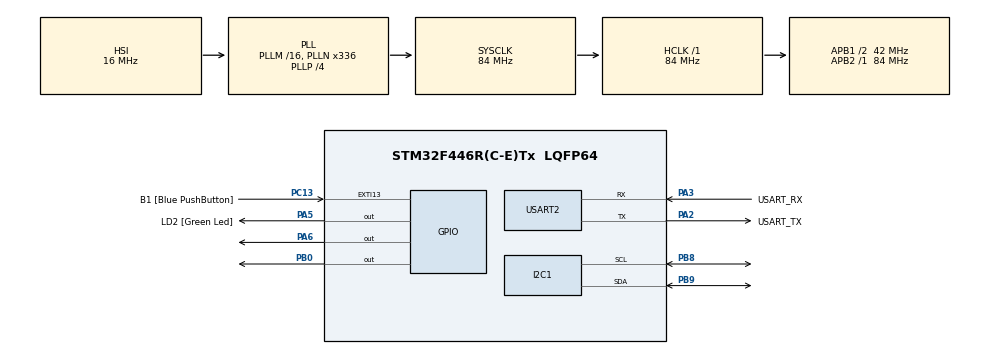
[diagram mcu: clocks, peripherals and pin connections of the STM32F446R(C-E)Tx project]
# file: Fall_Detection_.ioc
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Mcu.Family=STM32F4
Mcu.Name=STM32F446R(C-E)Tx
Mcu.Package=LQFP64
NVIC.PriorityGroup=NVIC_PRIORITYGROUP_0
PA13.GPIO_Label=TMS
PA13.Mode=Serial_Wire
PA13.Signal=SYS_JTMS-SWDIO
PA14.GPIO_Label=TCK
PA14.Mode=Serial_Wire
PA14.Signal=SYS_JTCK-SWCLK
PA2.GPIO_Label=USART_TX
PA2.Mode=Asynchronous
PA2.Signal=USART2_TX
PA3.GPIO_Label=USART_RX
PA3.Mode=Asynchronous
PA3.Signal=USART2_RX
PA5.GPIO_Label=LD2 [Green Led]
PA5.Signal=GPIO_Output
PA6.Signal=GPIO_Output
PB0.Signal=GPIO_Output
PB3.GPIO_Label=SWO
PB3.Signal=SYS_JTDO-SWO
PB8.Mode=I2C
PB8.Signal=I2C1_SCL
PB9.Mode=I2C
PB9.Signal=I2C1_SDA
PC13.GPIO_Label=B1 [Blue PushButton]
PC13.GPIO_ModeDefaultEXTI=GPIO_MODE_IT_FALLING
PC13.Signal=GPXTI13
PC14-OSC32_IN.Mode=LSE-External-Oscillator
PC14-OSC32_IN.Signal=RCC_OSC32_IN
PC15-OSC32_OUT.Mode=LSE-External-Oscillator
PC15-OSC32_OUT.Signal=RCC_OSC32_OUT
PH0-OSC_IN.Mode=HSE-External-Oscillator
PH0-OSC_IN.Signal=RCC_OSC_IN
PH1-OSC_OUT.Mode=HSE-External-Oscillator
PH1-OSC_OUT.Signal=RCC_OSC_OUT
ProjectManager.HeapSize=0x200
ProjectManager.StackSize=0x400
ProjectManager.TargetToolchain=STM32CubeIDE
RCC.48MHZClocksFreq_Value=84000000
RCC.AHBFreq_Value=84000000
RCC.APB1CLKDivider=RCC_HCLK_DIV2
RCC.APB1Freq_Value=42000000
RCC.APB1TimFreq_Value=84000000
RCC.APB2Freq_Value=84000000
RCC.APB2TimFreq_Value=84000000
RCC.CortexFreq_Value=84000000
RCC.FLatency-AdvancedSettings=FLASH_LATENCY_2
RCC.HCLKFreq_Value=84000000
RCC.HSE_VALUE=8000000
RCC.HSI_VALUE=16000000
RCC.PLLN=336
RCC.PLLP=RCC_PLLP_DIV4
RCC.SYSCLKFreq_VALUE=84000000
RCC.SYSCLKSource=RCC_SYSCLKSOURCE_PLLCLK
RCC.USBFreq_Value=168000000
RCC.VCOOutputFreq_Value=336000000
USART2.VirtualMode=VM_ASYNC
board=NUCLEO-F446RE

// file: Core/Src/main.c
/* USER CODE BEGIN Header */
/**
  ******************************************************************************
  * @file           : main.c
  * @brief          : FALL DETECTION SYSTEM
  ******************************************************************************
  */
/* USER CODE END Header */

#include "main.h"
#include <stdio.h>
#include <string.h>
#include <stdlib.h>

I2C_HandleTypeDef hi2c1;
UART_HandleTypeDef huart2;

/* USER CODE BEGIN PD */

#define LCD_ADDR (0x27 << 1)
#define MPU_ADDR (0x68 << 1)

#define FALL_X_THRESHOLD 12000
#define FALL_Z_THRESHOLD 22000

/* USER CODE END PD */

/* USER CODE BEGIN PV */

int16_t Accel_X_RAW, Accel_Y_RAW, Accel_Z_RAW;
char buffer[16];

/* USER CODE END PV */

/* Function Prototypes */
void SystemClock_Config(void);
static void MX_GPIO_Init(void);
static void MX_USART2_UART_Init(void);
static void MX_I2C1_Init(void);

/* USER CODE BEGIN 0 */

// ================= LCD FUNCTIONS =================

void lcd_send_cmd(char cmd)
{
    uint8_t data_u, data_l;
    uint8_t data_t[4];

    data_u = (cmd & 0xF0);
    data_l = ((cmd << 4) & 0xF0);

    data_t[0] = data_u | 0x0C;
    data_t[1] = data_u | 0x08;
    data_t[2] = data_l | 0x0C;
    data_t[3] = data_l | 0x08;

    HAL_I2C_Master_Transmit(&hi2c1, LCD_ADDR, data_t, 4, 100);
}

void lcd_send_data(char data)
{
    uint8_t data_u, data_l;
    uint8_t data_t[4];

    data_u = (data & 0xF0);
    data_l = ((data << 4) & 0xF0);

    data_t[0] = data_u | 0x0D;
    data_t[1] = data_u | 0x09;
    data_t[2] = data_l | 0x0D;
    data_t[3] = data_l | 0x09;

    HAL_I2C_Master_Transmit(&hi2c1, LCD_ADDR, data_t, 4, 100);
}

void lcd_clear(void)
{
    lcd_send_cmd(0x01);
    HAL_Delay(2);
}

void lcd_put_cur(int row, int col)
{
    uint8_t pos;

    if(row == 0)
        pos = 0x80 + col;
    else
        pos = 0xC0 + col;

    lcd_send_cmd(pos);

}

void lcd_init(void)
{
    HAL_Delay(50);

    lcd_send_cmd(0x33);
    lcd_send_cmd(0x32);
    lcd_send_cmd(0x28);
    lcd_send_cmd(0x0C);
    lcd_send_cmd(0x06);
    lcd_send_cmd(0x01);

    HAL_Delay(5);
}

void lcd_send_string(char *str)
{
    while(*str)
    {
        lcd_send_data(*str++);
    }
}

// ================= MPU6050 FUNCTIONS =================

void MPU6050_Init(void)
{
    uint8_t check;
    uint8_t data;

    HAL_I2C_Mem_Read(&hi2c1, MPU_ADDR, 0x75, 1, &check, 1, 1000);

    if(check == 0x68)
    {
        data = 0;
        HAL_I2C_Mem_Write(&hi2c1, MPU_ADDR, 0x6B, 1, &data, 1, 1000);
    }
}

void MPU6050_Read_Accel(void)
{
    uint8_t Rec_Data[6];

    HAL_I2C_Mem_Read(&hi2c1, MPU_ADDR, 0x3B, 1, Rec_Data, 6, 1000);

    Accel_X_RAW = (int16_t)((Rec_Data[0] << 8) | Rec_Data[1]);
    Accel_Y_RAW = (int16_t)((Rec_Data[2] << 8) | Rec_Data[3]);
    Accel_Z_RAW = (int16_t)((Rec_Data[4] << 8) | Rec_Data[5]);
}

/* USER CODE END 0 */

// ================= MAIN =================

int main(void)
{
  HAL_Init();

  SystemClock_Config();

  MX_GPIO_Init();
  MX_USART2_UART_Init();
  MX_I2C1_Init();

  // ===== LCD INIT =====
  lcd_init();
  HAL_Delay(100);

  // ===== MPU INIT =====
  MPU6050_Init();

  lcd_clear();

  while (1)
  {
      int32_t x_sum = 0;
      int32_t z_sum = 0;

      // ===== TAKE 10 READINGS =====
      for(int i = 0; i < 10; i++)
      {
          MPU6050_Read_Accel();

          x_sum += Accel_X_RAW;
          z_sum += Accel_Z_RAW;

          HAL_Delay(10);
      }

      // ===== AVERAGE =====
      Accel_X_RAW = x_sum / 10;
      Accel_Z_RAW = z_sum / 10;

      // ===== DISPLAY X =====
      sprintf(buffer, "X:%6d", Accel_X_RAW);

      lcd_put_cur(0,0);
      lcd_send_string("                ");

      lcd_put_cur(0,0);
      lcd_send_string(buffer);

      // ===== DISPLAY Z =====
      sprintf(buffer, "Z:%6d", Accel_Z_RAW);

      lcd_put_cur(1,0);
      lcd_send_string("                ");

      lcd_put_cur(1,0);
      lcd_send_string(buffer);

      // ===== FALL DETECTION =====
      if(abs(Accel_X_RAW) > FALL_X_THRESHOLD ||
         abs(Accel_Z_RAW) > FALL_Z_THRESHOLD)
      {
          lcd_clear();

          lcd_put_cur(0,0);
          lcd_send_string("FALL DETECTED");

          lcd_put_cur(1,0);
          lcd_send_string("ALERT!");

          // ===== EXTERNAL LED ON =====
          HAL_GPIO_WritePin(GPIOB, GPIO_PIN_0, GPIO_PIN_SET);

          // ===== BUZZER ON =====
          HAL_GPIO_WritePin(GPIOA, GPIO_PIN_6, GPIO_PIN_SET);

          HAL_Delay(3000);

          // ===== EXTERNAL LED OFF =====
          HAL_GPIO_WritePin(GPIOB, GPIO_PIN_0, GPIO_PIN_RESET);

          // ===== BUZZER OFF =====
          HAL_GPIO_WritePin(GPIOA, GPIO_PIN_6, GPIO_PIN_RESET);

          lcd_clear();
      }

      HAL_Delay(200);
  }
}

// ================= SYSTEM CLOCK =================

void SystemClock_Config(void)
{
  RCC_OscInitTypeDef RCC_OscInitStruct = {0};
  RCC_ClkInitTypeDef RCC_ClkInitStruct = {0};

  __HAL_RCC_PWR_CLK_ENABLE();
  __HAL_PWR_VOLTAGESCALING_CONFIG(PWR_REGULATOR_VOLTAGE_SCALE3);

  RCC_OscInitStruct.OscillatorType = RCC_OSCILLATORTYPE_HSI;
  RCC_OscInitStruct.HSIState = RCC_HSI_ON;
  RCC_OscInitStruct.HSICalibrationValue = RCC_HSICALIBRATION_DEFAULT;
  RCC_OscInitStruct.PLL.PLLState = RCC_PLL_ON;
  RCC_OscInitStruct.PLL.PLLSource = RCC_PLLSOURCE_HSI;
  RCC_OscInitStruct.PLL.PLLM = 16;
  RCC_OscInitStruct.PLL.PLLN = 336;
  RCC_OscInitStruct.PLL.PLLP = RCC_PLLP_DIV4;
  RCC_OscInitStruct.PLL.PLLQ = 2;

  HAL_RCC_OscConfig(&RCC_OscInitStruct);

  RCC_ClkInitStruct.ClockType = RCC_CLOCKTYPE_HCLK |
                                RCC_CLOCKTYPE_SYSCLK |
                                RCC_CLOCKTYPE_PCLK1 |
                                RCC_CLOCKTYPE_PCLK2;

  RCC_ClkInitStruct.SYSCLKSource = RCC_SYSCLKSOURCE_PLLCLK;

  RCC_ClkInitStruct.AHBCLKDivider = RCC_SYSCLK_DIV1;
  RCC_ClkInitStruct.APB1CLKDivider = RCC_HCLK_DIV2;
  RCC_ClkInitStruct.APB2CLKDivider = RCC_HCLK_DIV1;

  HAL_RCC_ClockConfig(&RCC_ClkInitStruct, FLASH_LATENCY_2);
}

// ================= I2C INIT =================

static void MX_I2C1_Init(void)
{
  hi2c1.Instance = I2C1;

  hi2c1.Init.ClockSpeed = 100000;
  hi2c1.Init.DutyCycle = I2C_DUTYCYCLE_2;
  hi2c1.Init.OwnAddress1 = 0;
  hi2c1.Init.AddressingMode = I2C_ADDRESSINGMODE_7BIT;
  hi2c1.Init.DualAddressMode = I2C_DUALADDRESS_DISABLE;
  hi2c1.Init.OwnAddress2 = 0;
  hi2c1.Init.GeneralCallMode = I2C_GENERALCALL_DISABLE;
  hi2c1.Init.NoStretchMode = I2C_NOSTRETCH_DISABLE;

  HAL_I2C_Init(&hi2c1);
}

// ================= UART INIT =================

static void MX_USART2_UART_Init(void)
{
  huart2.Instance = USART2;

  huart2.Init.BaudRate = 115200;
  huart2.Init.WordLength = UART_WORDLENGTH_8B;
  huart2.Init.StopBits = UART_STOPBITS_1;
  huart2.Init.Parity = UART_PARITY_NONE;
  huart2.Init.Mode = UART_MODE_TX_RX;
  huart2.Init.HwFlowCtl = UART_HWCONTROL_NONE;
  huart2.Init.OverSampling = UART_OVERSAMPLING_16;

  HAL_UART_Init(&huart2);
}

// ================= GPIO INIT =================

static void MX_GPIO_Init(void)
{
  GPIO_InitTypeDef GPIO_InitStruct = {0};

  __HAL_RCC_GPIOC_CLK_ENABLE();
  __HAL_RCC_GPIOH_CLK_ENABLE();
  __HAL_RCC_GPIOA_CLK_ENABLE();
  __HAL_RCC_GPIOB_CLK_ENABLE();

  // ===== EXTERNAL LED PB0 =====
  HAL_GPIO_WritePin(GPIOB, GPIO_PIN_0, GPIO_PIN_RESET);

  GPIO_InitStruct.Pin = GPIO_PIN_0;
  GPIO_InitStruct.Mode = GPIO_MODE_OUTPUT_PP;
  GPIO_InitStruct.Pull = GPIO_NOPULL;
  GPIO_InitStruct.Speed = GPIO_SPEED_FREQ_LOW;

  HAL_GPIO_Init(GPIOB, &GPIO_InitStruct);

  // ===== BUZZER PA6 =====
  HAL_GPIO_WritePin(GPIOA, GPIO_PIN_6, GPIO_PIN_RESET);

  GPIO_InitStruct.Pin = GPIO_PIN_6;

  HAL_GPIO_Init(GPIOA, &GPIO_InitStruct);
}

// ================= ERROR HANDLER =================

void Error_Handler(void)
{
  while(1)
  {
  }
}
